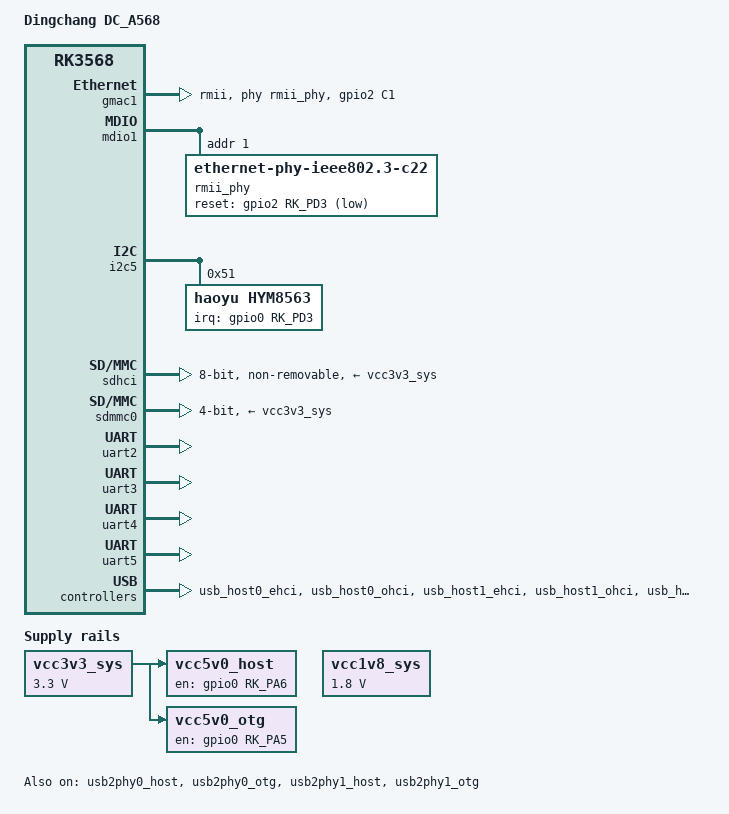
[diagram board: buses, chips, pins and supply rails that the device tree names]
// SPDX-License-Identifier: (GPL-2.0+ OR MIT)
/*
 * marr distro board dts: 定昌电子 DC_A568 (vendor model "ztl, A568")
 * RK3568 · 4GB LPDDR4X · 16GB eMMC · 工控一体板
 *
 * Scope: minimal bring-up set per docs/bringup-dc-a568.md —
 *   eMMC / TF / UART2 console / UART3-5 / USB host+OTG /
 *   GMAC1 RMII 100M / HYM8563 RTC. Display & audio: not supported.
 *
 * Facts ported from the vendor firmware dtb (decompiled,
 * ~/workspace/marr-materials/a568/a568-vendor.dts) and the DC-A568-V06
 * spec sheet:
 *   - GMAC1 RMII muxed onto the GPIO2 pad group (gmac0_* pinctrl groups)
 *     plus one custom pin (GPIO2_C1 func2, refclk); SoC outputs 50MHz
 *   - PHY on mdio1 bus, address 1, reset GPIO2_D3 (active-low)
 *   - vcc5v0_host enable GPIO0_A6 / vcc5v0_otg enable GPIO0_A5
 *   - HYM8563 RTC on i2c5@0x51, irq GPIO0_D3
 *   - vccio1/4/5/7 + pmuio2 = 3v3, vccio3/6 = 1v8
 *
 * TODO after first boot:
 *   - RK809 PMIC regulator tree (fixed placeholders below only keep
 *     the voltages the bootloader has already set)
 *   - RS485 (uart4) direction GPIO3_A6 once the stuffing option is confirmed
 *   - USB port-to-controller mapping to be confirmed on hardware
 */

/dts-v1/;
#include <dt-bindings/clock/rk3568-cru.h>
#include <dt-bindings/gpio/gpio.h>
#include <dt-bindings/interrupt-controller/irq.h>
#include <dt-bindings/pinctrl/rockchip.h>
#include "rk3568.dtsi"

/ {
	model = "Dingchang DC_A568";
	compatible = "gzdc,dc-a568", "rockchip,rk3568";

	aliases {
		ethernet0 = &gmac1;
		mmc0 = &sdmmc0;
		mmc1 = &sdhci;
		serial2 = &uart2;
	};

	chosen {
		stdout-path = "serial2:1500000n8";
	};

	/* 固定占位电源:首启沿用 bootloader 已设电压,RK809 树落地后替换 */
	vcc3v3_sys: vcc3v3-sys-regulator {
		compatible = "regulator-fixed";
		regulator-name = "vcc3v3_sys";
		regulator-always-on;
		regulator-boot-on;
		regulator-min-microvolt = <3300000>;
		regulator-max-microvolt = <3300000>;
	};

	vcc1v8_sys: vcc1v8-sys-regulator {
		compatible = "regulator-fixed";
		regulator-name = "vcc1v8_sys";
		regulator-always-on;
		regulator-boot-on;
		regulator-min-microvolt = <1800000>;
		regulator-max-microvolt = <1800000>;
	};

	vcc5v0_host: vcc5v0-host-regulator {
		compatible = "regulator-fixed";
		regulator-name = "vcc5v0_host";
		regulator-boot-on;
		enable-active-high;
		gpio = <&gpio0 RK_PA6 GPIO_ACTIVE_HIGH>;
		pinctrl-names = "default";
		pinctrl-0 = <&vcc5v0_host_en>;
		vin-supply = <&vcc3v3_sys>;
	};

	vcc5v0_otg: vcc5v0-otg-regulator {
		compatible = "regulator-fixed";
		regulator-name = "vcc5v0_otg";
		regulator-boot-on;
		enable-active-high;
		gpio = <&gpio0 RK_PA5 GPIO_ACTIVE_HIGH>;
		pinctrl-names = "default";
		pinctrl-0 = <&vcc5v0_otg_en>;
		vin-supply = <&vcc3v3_sys>;
	};
};

&gmac1 {
	assigned-clocks = <&cru SCLK_GMAC1_RX_TX>;
	assigned-clock-parents = <&cru SCLK_GMAC1_RMII_SPEED>;
	clock_in_out = "output";
	phy-handle = <&rmii_phy>;
	phy-mode = "rmii";
	pinctrl-names = "default";
	/* RMII 复用到 GPIO2 pad 组(与厂商固件一致,组名是 gmac0_*) */
	pinctrl-0 = <&gmac0_miim
		     &gmac0_clkinout
		     &gmac0_rx_bus2
		     &gmac0_tx_bus2
		     &eth0_pins>;
	status = "okay";
};

&mdio1 {
	rmii_phy: ethernet-phy@1 {
		compatible = "ethernet-phy-ieee802.3-c22";
		reg = <0x1>;
		reset-assert-us = <20000>;
		reset-deassert-us = <100000>;
		reset-gpios = <&gpio2 RK_PD3 GPIO_ACTIVE_LOW>;
	};
};

&i2c5 {
	status = "okay";

	hym8563: rtc@51 {
		compatible = "haoyu,hym8563";
		reg = <0x51>;
		#clock-cells = <0>;
		interrupt-parent = <&gpio0>;
		interrupts = <RK_PD3 IRQ_TYPE_LEVEL_LOW>;
		pinctrl-names = "default";
		pinctrl-0 = <&rtc_int>;
		wakeup-source;
	};
};

&sdhci {
	bus-width = <8>;
	non-removable;
	vmmc-supply = <&vcc3v3_sys>;
	vqmmc-supply = <&vcc1v8_sys>;
	status = "okay";
};

&sdmmc0 {
	bus-width = <4>;
	cap-sd-highspeed;
	disable-wp;
	broken-cd;
	max-frequency = <150000000>;
	pinctrl-names = "default";
	pinctrl-0 = <&sdmmc0_bus4 &sdmmc0_clk &sdmmc0_cmd>;
	vmmc-supply = <&vcc3v3_sys>;
	vqmmc-supply = <&vcc3v3_sys>;
	status = "okay";
};

&uart2 {
	pinctrl-names = "default";
	pinctrl-0 = <&uart2m0_xfer>;
	status = "okay";
};

&uart3 {
	pinctrl-names = "default";
	pinctrl-0 = <&uart3m1_xfer>;
	status = "okay";
};

&uart4 {
	pinctrl-names = "default";
	pinctrl-0 = <&uart4m1_xfer>;
	status = "okay";
};

&uart5 {
	pinctrl-names = "default";
	pinctrl-0 = <&uart5m1_xfer>;
	status = "okay";
};

&pmu_io_domains {
	status = "okay";
	pmuio2-supply = <&vcc3v3_sys>;
	vccio1-supply = <&vcc3v3_sys>;
	vccio3-supply = <&vcc1v8_sys>;
	vccio4-supply = <&vcc3v3_sys>;
	vccio5-supply = <&vcc3v3_sys>;
	vccio6-supply = <&vcc1v8_sys>;
	vccio7-supply = <&vcc3v3_sys>;
};

&usb2phy0_host {
	phy-supply = <&vcc5v0_host>;
	status = "okay";
};

&usb2phy0_otg {
	status = "okay";
};

&usb2phy1_host {
	phy-supply = <&vcc5v0_host>;
	status = "okay";
};

&usb2phy1_otg {
	status = "okay";
};

&usb_host0_ehci {
	status = "okay";
};

&usb_host0_ohci {
	status = "okay";
};

&usb_host1_ehci {
	status = "okay";
};

&usb_host1_ohci {
	status = "okay";
};

&usb_host0_xhci {
	status = "okay";
};

&pinctrl {
	eth0 {
		eth0_pins: eth0-pins {
			rockchip,pins = <2 RK_PC1 2 &pcfg_pull_none>;
		};
	};

	usb {
		vcc5v0_host_en: vcc5v0-host-en {
			rockchip,pins = <0 RK_PA6 RK_FUNC_GPIO &pcfg_pull_none>;
		};

		vcc5v0_otg_en: vcc5v0-otg-en {
			rockchip,pins = <0 RK_PA5 RK_FUNC_GPIO &pcfg_pull_none>;
		};
	};

	rtc {
		rtc_int: rtc-int {
			rockchip,pins = <0 RK_PD3 RK_FUNC_GPIO &pcfg_pull_up>;
		};
	};
};
